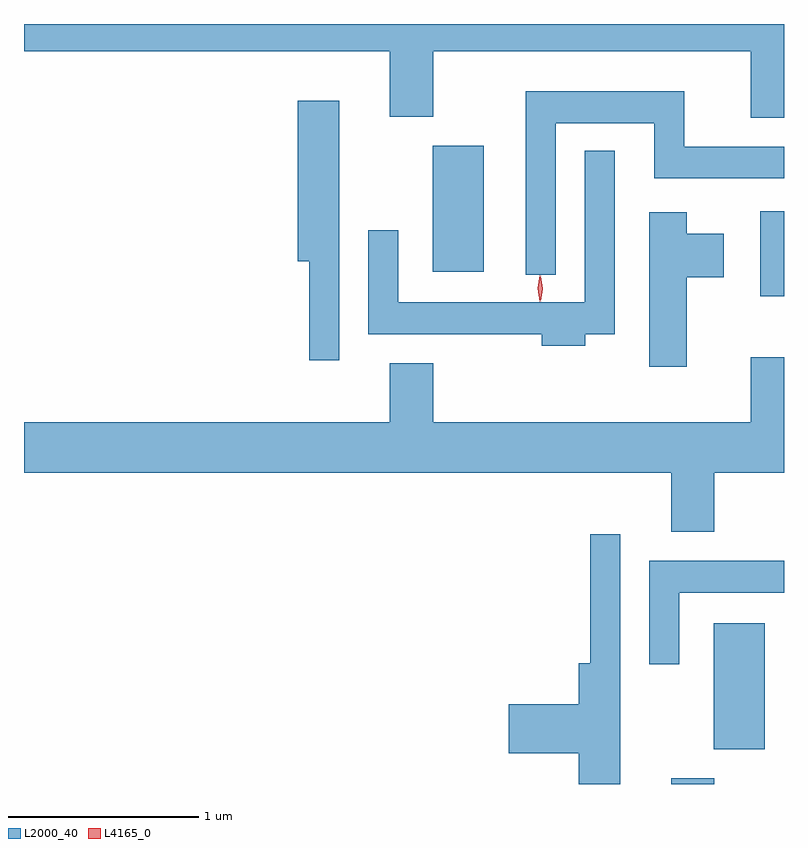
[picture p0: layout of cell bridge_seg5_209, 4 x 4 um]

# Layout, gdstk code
import gdstk
lib = gdstk.Library(unit=1e-6, precision=1e-09)
def R(c, l, rs):  # rectangles x0, y0, x1, y1
    for r in rs: c.add(gdstk.rectangle(r[:2], r[2:], *l))
def P(c, l, *ps):  # polygons
    for p in ps: c.add(gdstk.Polygon(p, *l))
L2000_40 = (2000, 40)
L4165_0 = (4165, 0)

bridge_seg5_209 = lib.new_cell('bridge_seg5_209')
R(bridge_seg5_209, L2000_40, [(1269.171,1417.419,1269.399,1417.449), (1269.396,1417.601,1269.664,1418.264), (1269.641,1419.986,1269.765,1420.434), (1267.916,1420.116,1268.184,1420.779)])
P(bridge_seg5_209, L2000_40, [(1269.765,1421.419),(1265.765,1421.419),(1265.765,1421.276),(1267.691,1421.276),(1267.691,1420.931),(1267.919,1420.931),(1267.919,1421.276),(1269.591,1421.276),(1269.591,1420.926),(1269.765,1420.926)],
  [(1268.564,1420.896),(1269.081,1420.896),(1269.081,1420.606),(1269.765,1420.606),(1269.765,1420.774),(1269.239,1420.774),(1269.239,1421.064),(1268.406,1421.064),(1268.406,1420.098),(1268.564,1420.098)],
  [(1267.424,1421.014),(1267.206,1421.014),(1267.206,1420.171),(1267.266,1420.171),(1267.266,1419.648),(1267.424,1419.648)],
  [(1268.719,1419.786),(1268.874,1419.786),(1268.874,1420.753),(1268.716,1420.753),(1268.716,1419.954),(1267.734,1419.954),(1267.734,1420.333),(1267.576,1420.333),(1267.576,1419.786),(1268.491,1419.786),(1268.491,1419.726),(1268.719,1419.726)],
  [(1269.254,1420.086),(1269.449,1420.086),(1269.449,1420.314),(1269.254,1420.314),(1269.254,1420.429),(1269.056,1420.429),(1269.056,1419.616),(1269.254,1419.616)],
  [(1269.399,1419.056),(1269.765,1419.056),(1269.765,1419.664),(1269.591,1419.664),(1269.591,1419.324),(1267.919,1419.324),(1267.919,1419.634),(1267.691,1419.634),(1267.691,1419.324),(1265.765,1419.324),(1265.765,1419.056),(1269.171,1419.056),(1269.171,1418.746),(1269.399,1418.746)],
  [(1268.904,1418.733),(1268.746,1418.733),(1268.746,1418.054),(1268.686,1418.054),(1268.686,1417.839),(1268.316,1417.839),(1268.316,1417.581),(1268.686,1417.581),(1268.686,1417.419),(1268.904,1417.419)],
  [(1269.214,1418.426),(1269.765,1418.426),(1269.765,1418.594),(1269.056,1418.594),(1269.056,1418.048),(1269.214,1418.048)])
P(bridge_seg5_209, L4165_0, [(1268.479,1419.957),(1268.47,1420.027),(1268.479,1420.096),(1268.48,1420.096),(1268.48,1420.096),(1268.49,1420.027),(1268.48,1419.957),(1268.48,1419.957)],
  [(1268.485,1419.959),(1268.484,1419.96),(1268.475,1420.026),(1268.484,1420.092),(1268.485,1420.093),(1268.485,1420.092),(1268.495,1420.026),(1268.485,1419.96)])

lib.write_gds('bridge_seg5_209.gds')
